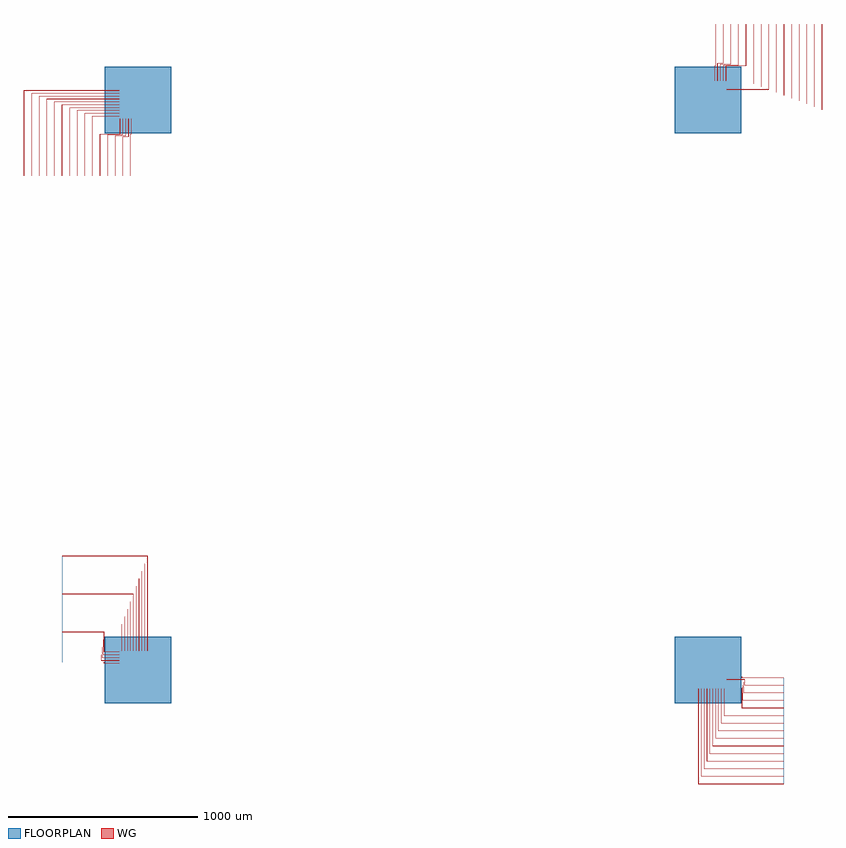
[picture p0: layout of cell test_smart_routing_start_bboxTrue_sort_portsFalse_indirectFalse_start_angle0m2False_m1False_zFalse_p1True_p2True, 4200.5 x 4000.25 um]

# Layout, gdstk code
import gdstk
lib = gdstk.Library(unit=1e-6, precision=1e-09)
def R(c, l, rs):  # rectangles x0, y0, x1, y1
    for r in rs: c.add(gdstk.rectangle(r[:2], r[2:], *l))
def P(c, l, *ps):  # polygons
    for p in ps: c.add(gdstk.Polygon(p, *l))
WG = (1, 0)
FLOORPLAN = (10, 0)

test_smart_routing_start = lib.new_cell('test_smart_routing_start_bboxTrue_sort_portsFalse_indirectFalse_start_angle0m2False_m1False_zFalse_p1True_p2True')
P(test_smart_routing_start, WG, [(3100,2950.05),(3100,2950.25),(3599.75,2950.25),(3599.75,3400),(3599.95,3400),(3599.95,2950.05)],
  [(3100,2949.75),(3100,2949.95),(3600.05,2949.95),(3600.05,3400),(3600.25,3400),(3600.25,2949.75)],
  [(3100,2965.05),(3100,2965.25),(3559.75,2965.25),(3559.75,3400),(3559.95,3400),(3559.95,2965.05)],
  [(3100,2964.75),(3100,2964.95),(3560.05,2964.95),(3560.05,3400),(3560.25,3400),(3560.25,2964.75)],
  [(3100,2980.05),(3100,2980.25),(3519.75,2980.25),(3519.75,3400),(3519.95,3400),(3519.95,2980.05)],
  [(3100,2979.75),(3100,2979.95),(3520.05,2979.95),(3520.05,3400),(3520.25,3400),(3520.25,2979.75)],
  [(3100,2995.05),(3100,2995.25),(3479.75,2995.25),(3479.75,3400),(3479.95,3400),(3479.95,2995.05)],
  [(3100,2994.75),(3100,2994.95),(3480.05,2994.95),(3480.05,3400),(3480.25,3400),(3480.25,2994.75)],
  [(3100,3010.05),(3100,3010.25),(3439.75,3010.25),(3439.75,3400),(3439.95,3400),(3439.95,3010.05)],
  [(3100,3009.75),(3100,3009.95),(3440.05,3009.95),(3440.05,3400),(3440.25,3400),(3440.25,3009.75)],
  [(3100,3025.05),(3100,3025.25),(3399.75,3025.25),(3399.75,3400),(3399.95,3400),(3399.95,3025.05)],
  [(3100,3024.75),(3100,3024.95),(3400.05,3024.95),(3400.05,3400),(3400.25,3400),(3400.25,3024.75)],
  [(3100,3040.05),(3100,3040.25),(3359.75,3040.25),(3359.75,3400),(3359.95,3400),(3359.95,3040.05)],
  [(3100,3039.75),(3100,3039.95),(3360.05,3039.95),(3360.05,3400),(3360.25,3400),(3360.25,3039.75)],
  [(3100,3055.05),(3100,3055.25),(3319.75,3055.25),(3319.75,3400),(3319.95,3400),(3319.95,3055.05)],
  [(3100,3054.75),(3100,3054.95),(3320.05,3054.95),(3320.05,3400),(3320.25,3400),(3320.25,3054.75)],
  [(3100,3070.05),(3100,3070.25),(3279.75,3070.25),(3279.75,3400),(3279.95,3400),(3279.95,3070.05)],
  [(3100,3069.75),(3100,3069.95),(3280.05,3069.95),(3280.05,3400),(3280.25,3400),(3280.25,3069.75)],
  [(3100,3085.05),(3100,3085.25),(3239.75,3085.25),(3239.75,3400),(3239.95,3400),(3239.95,3085.05)],
  [(3100,3084.75),(3100,3084.95),(3240.05,3084.95),(3240.05,3400),(3240.25,3400),(3240.25,3084.75)],
  [(3034.75,3100),(3034.75,3179.5),(3039.75,3179.5),(3039.75,3400),(3039.95,3400),(3039.95,3179.3),(3034.95,3179.3),(3034.95,3100)],
  [(3035.05,3100),(3035.05,3179.2),(3040.05,3179.2),(3040.05,3400),(3040.25,3400),(3040.25,3179),(3035.25,3179),(3035.25,3100)],
  [(3049.75,3100),(3049.75,3193),(3079.75,3193),(3079.75,3400),(3079.95,3400),(3079.95,3192.8),(3049.95,3192.8),(3049.95,3100)],
  [(3050.05,3100),(3050.05,3192.7),(3080.05,3192.7),(3080.05,3400),(3080.25,3400),(3080.25,3192.5),(3050.25,3192.5),(3050.25,3100)],
  [(3064.75,3100),(3064.75,3188.5),(3119.75,3188.5),(3119.75,3400),(3119.95,3400),(3119.95,3188.3),(3064.95,3188.3),(3064.95,3100)],
  [(3065.05,3100),(3065.05,3188.2),(3120.05,3188.2),(3120.05,3400),(3120.25,3400),(3120.25,3188),(3065.25,3188),(3065.25,3100)],
  [(3079.75,3100),(3079.75,3184),(3159.75,3184),(3159.75,3400),(3159.95,3400),(3159.95,3183.8),(3079.95,3183.8),(3079.95,3100)],
  [(3080.05,3100),(3080.05,3183.7),(3160.05,3183.7),(3160.05,3400),(3160.25,3400),(3160.25,3183.5),(3080.25,3183.5),(3080.25,3100)],
  [(3094.75,3100),(3094.75,3179.5),(3199.75,3179.5),(3199.75,3400),(3199.95,3400),(3199.95,3179.3),(3094.95,3179.3),(3094.95,3100)],
  [(3095.05,3100),(3095.05,3179.2),(3200.05,3179.2),(3200.05,3400),(3200.25,3400),(3200.25,3179),(3095.25,3179),(3095.25,3100)],
  [(-599.95,2600),(-599.95,3049.95),(-100,3049.95),(-100,3049.75),(-599.75,3049.75),(-599.75,2600)],
  [(-600.25,2600),(-600.25,3050.25),(-100,3050.25),(-100,3050.05),(-600.05,3050.05),(-600.05,2600)],
  [(-559.95,2600),(-559.95,3034.95),(-100,3034.95),(-100,3034.75),(-559.75,3034.75),(-559.75,2600)],
  [(-560.25,2600),(-560.25,3035.25),(-100,3035.25),(-100,3035.05),(-560.05,3035.05),(-560.05,2600)],
  [(-519.95,2600),(-519.95,3019.95),(-100,3019.95),(-100,3019.75),(-519.75,3019.75),(-519.75,2600)],
  [(-520.25,2600),(-520.25,3020.25),(-100,3020.25),(-100,3020.05),(-520.05,3020.05),(-520.05,2600)],
  [(-479.95,2600),(-479.95,3004.95),(-100,3004.95),(-100,3004.75),(-479.75,3004.75),(-479.75,2600)],
  [(-480.25,2600),(-480.25,3005.25),(-100,3005.25),(-100,3005.05),(-480.05,3005.05),(-480.05,2600)],
  [(-439.95,2600),(-439.95,2989.95),(-100,2989.95),(-100,2989.75),(-439.75,2989.75),(-439.75,2600)],
  [(-440.25,2600),(-440.25,2990.25),(-100,2990.25),(-100,2990.05),(-440.05,2990.05),(-440.05,2600)],
  [(-399.95,2600),(-399.95,2974.95),(-100,2974.95),(-100,2974.75),(-399.75,2974.75),(-399.75,2600)],
  [(-400.25,2600),(-400.25,2975.25),(-100,2975.25),(-100,2975.05),(-400.05,2975.05),(-400.05,2600)],
  [(-359.95,2600),(-359.95,2959.95),(-100,2959.95),(-100,2959.75),(-359.75,2959.75),(-359.75,2600)],
  [(-360.25,2600),(-360.25,2960.25),(-100,2960.25),(-100,2960.05),(-360.05,2960.05),(-360.05,2600)],
  [(-319.95,2600),(-319.95,2944.95),(-100,2944.95),(-100,2944.75),(-319.75,2944.75),(-319.75,2600)],
  [(-320.25,2600),(-320.25,2945.25),(-100,2945.25),(-100,2945.05),(-320.05,2945.05),(-320.05,2600)],
  [(-279.95,2600),(-279.95,2929.95),(-100,2929.95),(-100,2929.75),(-279.75,2929.75),(-279.75,2600)],
  [(-280.25,2600),(-280.25,2930.25),(-100,2930.25),(-100,2930.05),(-280.05,2930.05),(-280.05,2600)],
  [(-239.95,2600),(-239.95,2914.95),(-100,2914.95),(-100,2914.75),(-239.75,2914.75),(-239.75,2600)],
  [(-240.25,2600),(-240.25,2915.25),(-100,2915.25),(-100,2915.05),(-240.05,2915.05),(-240.05,2600)],
  [(-40.25,2600),(-40.25,2821),(-35.25,2821),(-35.25,2900),(-35.05,2900),(-35.05,2820.8),(-40.05,2820.8),(-40.05,2600)],
  [(-39.95,2600),(-39.95,2820.7),(-34.95,2820.7),(-34.95,2900),(-34.75,2900),(-34.75,2820.5),(-39.75,2820.5),(-39.75,2600)],
  [(-80.25,2600),(-80.25,2807.5),(-50.25,2807.5),(-50.25,2900),(-50.05,2900),(-50.05,2807.3),(-80.05,2807.3),(-80.05,2600)],
  [(-79.95,2600),(-79.95,2807.2),(-49.95,2807.2),(-49.95,2900),(-49.75,2900),(-49.75,2807),(-79.75,2807),(-79.75,2600)],
  [(-120.25,2600),(-120.25,2812),(-65.25,2812),(-65.25,2900),(-65.05,2900),(-65.05,2811.8),(-120.05,2811.8),(-120.05,2600)],
  [(-119.95,2600),(-119.95,2811.7),(-64.95,2811.7),(-64.95,2900),(-64.75,2900),(-64.75,2811.5),(-119.75,2811.5),(-119.75,2600)],
  [(-160.25,2600),(-160.25,2816.5),(-80.25,2816.5),(-80.25,2900),(-80.05,2900),(-80.05,2816.3),(-160.05,2816.3),(-160.05,2600)],
  [(-159.95,2600),(-159.95,2816.2),(-79.95,2816.2),(-79.95,2900),(-79.75,2900),(-79.75,2816),(-159.75,2816),(-159.75,2600)],
  [(-200.25,2600),(-200.25,2821),(-95.25,2821),(-95.25,2900),(-95.05,2900),(-95.05,2820.8),(-200.05,2820.8),(-200.05,2600)],
  [(-199.95,2600),(-199.95,2820.7),(-94.95,2820.7),(-94.95,2900),(-94.75,2900),(-94.75,2820.5),(-199.75,2820.5),(-199.75,2600)],
  [(49.75,100),(49.75,599.75),(-400,599.75),(-400,599.95),(49.95,599.95),(49.95,100)],
  [(50.05,100),(50.05,600.05),(-400,600.05),(-400,600.25),(50.25,600.25),(50.25,100)],
  [(34.75,100),(34.75,559.75),(-400,559.75),(-400,559.95),(34.95,559.95),(34.95,100)],
  [(35.05,100),(35.05,560.05),(-400,560.05),(-400,560.25),(35.25,560.25),(35.25,100)],
  [(19.75,100),(19.75,519.75),(-400,519.75),(-400,519.95),(19.95,519.95),(19.95,100)],
  [(20.05,100),(20.05,520.05),(-400,520.05),(-400,520.25),(20.25,520.25),(20.25,100)],
  [(4.75,100),(4.75,479.75),(-400,479.75),(-400,479.95),(4.95,479.95),(4.95,100)],
  [(5.05,100),(5.05,480.05),(-400,480.05),(-400,480.25),(5.25,480.25),(5.25,100)],
  [(-10.25,100),(-10.25,439.75),(-400,439.75),(-400,439.95),(-10.05,439.95),(-10.05,100)],
  [(-9.95,100),(-9.95,440.05),(-400,440.05),(-400,440.25),(-9.75,440.25),(-9.75,100)],
  [(-25.25,100),(-25.25,399.75),(-400,399.75),(-400,399.95),(-25.05,399.95),(-25.05,100)],
  [(-24.95,100),(-24.95,400.05),(-400,400.05),(-400,400.25),(-24.75,400.25),(-24.75,100)],
  [(-40.25,100),(-40.25,359.75),(-400,359.75),(-400,359.95),(-40.05,359.95),(-40.05,100)],
  [(-39.95,100),(-39.95,360.05),(-400,360.05),(-400,360.25),(-39.75,360.25),(-39.75,100)],
  [(-55.25,100),(-55.25,319.75),(-400,319.75),(-400,319.95),(-55.05,319.95),(-55.05,100)],
  [(-54.95,100),(-54.95,320.05),(-400,320.05),(-400,320.25),(-54.75,320.25),(-54.75,100)],
  [(-70.25,100),(-70.25,279.75),(-400,279.75),(-400,279.95),(-70.05,279.95),(-70.05,100)],
  [(-69.95,100),(-69.95,280.05),(-400,280.05),(-400,280.25),(-69.75,280.25),(-69.75,100)],
  [(-85.25,100),(-85.25,239.75),(-400,239.75),(-400,239.95),(-85.05,239.95),(-85.05,100)],
  [(-84.95,100),(-84.95,240.05),(-400,240.05),(-400,240.25),(-84.75,240.25),(-84.75,100)],
  [(-179.5,34.75),(-179.5,39.75),(-400,39.75),(-400,39.95),(-179.3,39.95),(-179.3,34.95),(-100,34.95),(-100,34.75)],
  [(-179.2,35.05),(-179.2,40.05),(-400,40.05),(-400,40.25),(-179,40.25),(-179,35.25),(-100,35.25),(-100,35.05)],
  [(-193,49.75),(-193,79.75),(-400,79.75),(-400,79.95),(-192.8,79.95),(-192.8,49.95),(-100,49.95),(-100,49.75)],
  [(-192.7,50.05),(-192.7,80.05),(-400,80.05),(-400,80.25),(-192.5,80.25),(-192.5,50.25),(-100,50.25),(-100,50.05)],
  [(-188.5,64.75),(-188.5,119.75),(-400,119.75),(-400,119.95),(-188.3,119.95),(-188.3,64.95),(-100,64.95),(-100,64.75)],
  [(-188.2,65.05),(-188.2,120.05),(-400,120.05),(-400,120.25),(-188,120.25),(-188,65.25),(-100,65.25),(-100,65.05)],
  [(-184,79.75),(-184,159.75),(-400,159.75),(-400,159.95),(-183.8,159.95),(-183.8,79.95),(-100,79.95),(-100,79.75)],
  [(-183.7,80.05),(-183.7,160.05),(-400,160.05),(-400,160.25),(-183.5,160.25),(-183.5,80.25),(-100,80.25),(-100,80.05)],
  [(-179.5,94.75),(-179.5,199.75),(-400,199.75),(-400,199.95),(-179.3,199.95),(-179.3,94.95),(-100,94.95),(-100,94.75)],
  [(-179.2,95.05),(-179.2,200.05),(-400,200.05),(-400,200.25),(-179,200.25),(-179,95.25),(-100,95.25),(-100,95.05)],
  [(2949.75,-600.25),(2949.75,-100),(2949.95,-100),(2949.95,-600.05),(3400,-600.05),(3400,-600.25)],
  [(2950.05,-599.95),(2950.05,-100),(2950.25,-100),(2950.25,-599.75),(3400,-599.75),(3400,-599.95)],
  [(2964.75,-560.25),(2964.75,-100),(2964.95,-100),(2964.95,-560.05),(3400,-560.05),(3400,-560.25)],
  [(2965.05,-559.95),(2965.05,-100),(2965.25,-100),(2965.25,-559.75),(3400,-559.75),(3400,-559.95)],
  [(2979.75,-520.25),(2979.75,-100),(2979.95,-100),(2979.95,-520.05),(3400,-520.05),(3400,-520.25)],
  [(2980.05,-519.95),(2980.05,-100),(2980.25,-100),(2980.25,-519.75),(3400,-519.75),(3400,-519.95)],
  [(2994.75,-480.25),(2994.75,-100),(2994.95,-100),(2994.95,-480.05),(3400,-480.05),(3400,-480.25)],
  [(2995.05,-479.95),(2995.05,-100),(2995.25,-100),(2995.25,-479.75),(3400,-479.75),(3400,-479.95)],
  [(3009.75,-440.25),(3009.75,-100),(3009.95,-100),(3009.95,-440.05),(3400,-440.05),(3400,-440.25)],
  [(3010.05,-439.95),(3010.05,-100),(3010.25,-100),(3010.25,-439.75),(3400,-439.75),(3400,-439.95)],
  [(3024.75,-400.25),(3024.75,-100),(3024.95,-100),(3024.95,-400.05),(3400,-400.05),(3400,-400.25)],
  [(3025.05,-399.95),(3025.05,-100),(3025.25,-100),(3025.25,-399.75),(3400,-399.75),(3400,-399.95)],
  [(3039.75,-360.25),(3039.75,-100),(3039.95,-100),(3039.95,-360.05),(3400,-360.05),(3400,-360.25)],
  [(3040.05,-359.95),(3040.05,-100),(3040.25,-100),(3040.25,-359.75),(3400,-359.75),(3400,-359.95)],
  [(3054.75,-320.25),(3054.75,-100),(3054.95,-100),(3054.95,-320.05),(3400,-320.05),(3400,-320.25)],
  [(3055.05,-319.95),(3055.05,-100),(3055.25,-100),(3055.25,-319.75),(3400,-319.75),(3400,-319.95)],
  [(3069.75,-280.25),(3069.75,-100),(3069.95,-100),(3069.95,-280.05),(3400,-280.05),(3400,-280.25)],
  [(3070.05,-279.95),(3070.05,-100),(3070.25,-100),(3070.25,-279.75),(3400,-279.75),(3400,-279.95)],
  [(3084.75,-240.25),(3084.75,-100),(3084.95,-100),(3084.95,-240.05),(3400,-240.05),(3400,-240.25)],
  [(3085.05,-239.95),(3085.05,-100),(3085.25,-100),(3085.25,-239.75),(3400,-239.75),(3400,-239.95)],
  [(3179,-40.25),(3179,-35.25),(3100,-35.25),(3100,-35.05),(3179.2,-35.05),(3179.2,-40.05),(3400,-40.05),(3400,-40.25)],
  [(3179.3,-39.95),(3179.3,-34.95),(3100,-34.95),(3100,-34.75),(3179.5,-34.75),(3179.5,-39.75),(3400,-39.75),(3400,-39.95)],
  [(3192.5,-80.25),(3192.5,-50.25),(3100,-50.25),(3100,-50.05),(3192.7,-50.05),(3192.7,-80.05),(3400,-80.05),(3400,-80.25)],
  [(3192.8,-79.95),(3192.8,-49.95),(3100,-49.95),(3100,-49.75),(3193,-49.75),(3193,-79.75),(3400,-79.75),(3400,-79.95)],
  [(3188,-120.25),(3188,-65.25),(3100,-65.25),(3100,-65.05),(3188.2,-65.05),(3188.2,-120.05),(3400,-120.05),(3400,-120.25)],
  [(3188.3,-119.95),(3188.3,-64.95),(3100,-64.95),(3100,-64.75),(3188.5,-64.75),(3188.5,-119.75),(3400,-119.75),(3400,-119.95)],
  [(3183.5,-160.25),(3183.5,-80.25),(3100,-80.25),(3100,-80.05),(3183.7,-80.05),(3183.7,-160.05),(3400,-160.05),(3400,-160.25)],
  [(3183.8,-159.95),(3183.8,-79.95),(3100,-79.95),(3100,-79.75),(3184,-79.75),(3184,-159.75),(3400,-159.75),(3400,-159.95)],
  [(3179,-200.25),(3179,-95.25),(3100,-95.25),(3100,-95.05),(3179.2,-95.05),(3179.2,-200.05),(3400,-200.05),(3400,-200.25)],
  [(3179.3,-199.95),(3179.3,-94.95),(3100,-94.95),(3100,-94.75),(3179.5,-94.75),(3179.5,-199.75),(3400,-199.75),(3400,-199.95)])
R(test_smart_routing_start, FLOORPLAN, [(-175,-175,175,175), (2825,-175,3175,175), (-175,2825,175,3175), (2825,2825,3175,3175)])
P(test_smart_routing_start, FLOORPLAN, [(-400,40),(-400,600),(-400,600),(-400,40)],
  [(-600,2600),(-600,2600),(-40,2600),(-40,2600)],
  [(3400,-600),(3400,-40),(3400,-40),(3400,-600)],
  [(3040,3400),(3040,3400),(3600,3400),(3600,3400)])

lib.write_gds('test_smart_routing_start_bboxTrue_sort_portsFalse_indirectFalse_start_angle0m2False_m1False_zFalse_p1True_p2True.gds')
